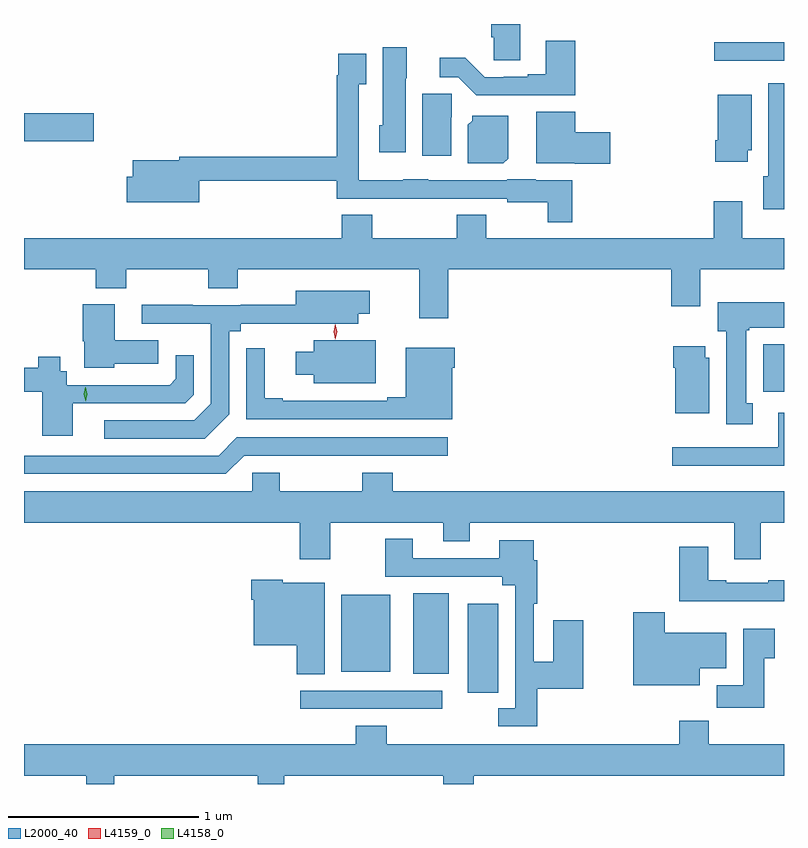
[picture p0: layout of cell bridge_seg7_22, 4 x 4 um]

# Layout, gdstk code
import gdstk
lib = gdstk.Library(unit=1e-6, precision=1e-09)
def R(c, l, rs):  # rectangles x0, y0, x1, y1
    for r in rs: c.add(gdstk.rectangle(r[:2], r[2:], *l))
def P(c, l, *ps):  # polygons
    for p in ps: c.add(gdstk.Polygon(p, *l))
L2000_40 = (2000, 40)
L4158_0 = (4158, 0)
L4159_0 = (4159, 0)

bridge_seg7_22 = lib.new_cell('bridge_seg7_22')
R(bridge_seg7_22, L2000_40, [(1106.871,1072.896,1107.616,1072.992), (1107.752,1072.98,1107.913,1073.449), (1107.464,1073.081,1107.652,1073.503), (1107.086,1073.09,1107.343,1073.497), (1109.307,1074.564,1109.416,1074.814), (1105.416,1075.883,1105.783,1076.03), (1109.049,1076.307,1109.416,1076.404)])
P(bridge_seg7_22, L2000_40, [(1108.027,1076.5),(1107.875,1076.5),(1107.875,1076.43),(1107.888,1076.43),(1107.888,1076.308),(1108.027,1076.308)],
  [(1108.316,1076.413),(1108.163,1076.413),(1108.163,1076.236),(1108.067,1076.236),(1108.067,1076.223),(1107.94,1076.223),(1107.94,1076.22),(1107.84,1076.22),(1107.738,1076.323),(1107.603,1076.323),(1107.603,1076.22),(1107.702,1076.22),(1107.796,1076.126),(1108.316,1076.126)],
  [(1107.424,1076.214),(1107.43,1076.214),(1107.43,1076.377),(1107.305,1076.377),(1107.305,1075.968),(1107.287,1075.968),(1107.287,1075.824),(1107.424,1075.824)],
  [(1108.301,1075.678),(1108.11,1075.678),(1108.11,1075.684),(1107.96,1075.684),(1107.96,1075.677),(1107.543,1075.677),(1107.543,1075.684),(1107.411,1075.684),(1107.411,1075.678),(1107.177,1075.678),(1107.177,1076.183),(1107.217,1076.183),(1107.217,1076.344),(1107.069,1076.344),(1107.069,1076.231),(1107.061,1076.231),(1107.061,1075.802),(1106.234,1075.802),(1106.234,1075.783),(1105.988,1075.783),(1105.988,1075.697),(1105.958,1075.697),(1105.958,1075.562),(1106.338,1075.562),(1106.338,1075.674),(1107.061,1075.674),(1107.061,1075.581),(1107.311,1075.581),(1107.311,1075.58),(1107.543,1075.58),(1107.543,1075.581),(1107.96,1075.581),(1107.96,1075.562),(1108.173,1075.562),(1108.173,1075.457),(1108.301,1075.457)],
  [(1109.416,1076.188),(1109.333,1076.188),(1109.333,1075.698),(1109.306,1075.698),(1109.306,1075.526),(1109.416,1075.526)],
  [(1107.664,1076.01),(1107.668,1076.01),(1107.668,1076.133),(1107.512,1076.133),(1107.512,1075.806),(1107.664,1075.806)],
  [(1109.224,1075.836),(1109.245,1075.836),(1109.245,1076.128),(1109.066,1076.128),(1109.066,1075.888),(1109.054,1075.888),(1109.054,1075.776),(1109.224,1075.776)],
  [(1108.501,1075.93),(1108.318,1075.93),(1108.318,1076.038),(1108.112,1076.038),(1108.112,1075.766),(1108.314,1075.766),(1108.314,1075.765),(1108.501,1075.765)],
  [(1107.964,1075.792),(1107.964,1076.017),(1107.774,1076.017),(1107.774,1075.992),(1107.752,1075.97),(1107.752,1075.766),(1107.938,1075.766)],
  [(1107.089,1075.496),(1107.089,1075.372),(1105.416,1075.372),(1105.416,1075.208),(1105.793,1075.208),(1105.793,1075.109),(1105.953,1075.109),(1105.953,1075.208),(1106.386,1075.208),(1106.386,1075.109),(1106.541,1075.109),(1106.541,1075.208),(1107.497,1075.208),(1107.497,1074.951),(1107.65,1074.951),(1107.65,1075.208),(1108.823,1075.208),(1108.823,1075.014),(1108.975,1075.014),(1108.975,1075.208),(1109.416,1075.208),(1109.416,1075.372),(1109.197,1075.372),(1109.197,1075.567),(1109.045,1075.567),(1109.045,1075.372),(1107.849,1075.372),(1107.849,1075.496),(1107.694,1075.496),(1107.694,1075.372),(1107.249,1075.372),(1107.249,1075.496)],
  [(1106.496,1074.446),(1106.496,1074.884),(1106.556,1074.884),(1106.556,1074.923),(1107.175,1074.923),(1107.175,1074.974),(1107.235,1074.974),(1107.235,1075.096),(1106.846,1075.096),(1106.846,1075.022),(1106.556,1075.022),(1106.556,1075.02),(1106.303,1075.02),(1106.303,1075.022),(1106.037,1075.022),(1106.037,1074.923),(1106.4,1074.923),(1106.4,1074.501),(1106.313,1074.414),(1105.839,1074.414),(1105.839,1074.318),(1106.368,1074.318)],
  [(1109.251,1074.505),(1109.218,1074.505),(1109.218,1074.889),(1109.232,1074.889),(1109.232,1074.902),(1109.416,1074.902),(1109.416,1075.036),(1109.066,1075.036),(1109.066,1074.882),(1109.111,1074.882),(1109.111,1074.393),(1109.251,1074.393)],
  [(1105.89,1074.713),(1106.122,1074.713),(1106.122,1074.835),(1105.894,1074.835),(1105.894,1075.024),(1105.724,1075.024),(1105.724,1074.831),(1105.733,1074.831),(1105.733,1074.692),(1105.89,1074.692)],
  [(1107.268,1074.835),(1106.942,1074.835),(1106.942,1074.775),(1106.846,1074.775),(1106.846,1074.653),(1106.942,1074.653),(1106.942,1074.608),(1107.268,1074.608)],
  [(1109.023,1074.744),(1109.002,1074.744),(1109.002,1074.805),(1108.832,1074.805),(1108.832,1074.692),(1108.844,1074.692),(1108.844,1074.452),(1109.023,1074.452)],
  [(1107.67,1074.692),(1107.683,1074.692),(1107.683,1074.796),(1107.425,1074.796),(1107.425,1074.536),(1107.329,1074.536),(1107.329,1074.516),(1106.779,1074.516),(1106.779,1074.529),(1106.683,1074.529),(1106.683,1074.793),(1106.586,1074.793),(1106.586,1074.42),(1107.67,1074.42)],
  [(1105.672,1074.504),(1106.265,1074.504),(1106.31,1074.549),(1106.31,1074.757),(1106.214,1074.757),(1106.214,1074.632),(1106.182,1074.6),(1105.642,1074.6),(1105.642,1074.673),(1105.608,1074.673),(1105.608,1074.748),(1105.492,1074.748),(1105.492,1074.692),(1105.416,1074.692),(1105.416,1074.564),(1105.511,1074.564),(1105.511,1074.333),(1105.672,1074.333)],
  [(1109.416,1074.454),(1109.387,1074.454),(1109.387,1074.273),(1108.827,1074.273),(1108.827,1074.176),(1109.416,1074.176)],
  [(1106.574,1074.228),(1106.851,1074.228),(1106.851,1074.227),(1107.107,1074.227),(1107.107,1074.228),(1107.646,1074.228),(1107.646,1074.324),(1106.537,1074.324),(1106.441,1074.228),(1105.416,1074.228),(1105.416,1074.132),(1106.478,1074.132)],
  [(1107.027,1073.876),(1107.623,1073.876),(1107.623,1073.777),(1107.763,1073.777),(1107.763,1073.876),(1109.153,1073.876),(1109.153,1073.682),(1109.293,1073.682),(1109.293,1073.876),(1109.416,1073.876),(1109.416,1074.04),(1107.356,1074.04),(1107.356,1074.139),(1107.196,1074.139),(1107.196,1074.04),(1106.763,1074.04),(1106.763,1074.138),(1106.616,1074.138),(1106.616,1074.04),(1105.416,1074.04),(1105.416,1073.876),(1106.867,1073.876),(1106.867,1073.682),(1107.027,1073.682)],
  [(1108.118,1073.002),(1108.36,1073.002),(1108.36,1073.362),(1108.202,1073.362),(1108.202,1073.144),(1108.098,1073.144),(1108.098,1073.45),(1108.118,1073.45),(1108.118,1073.678),(1108.099,1073.678),(1108.099,1073.782),(1107.917,1073.782),(1107.917,1073.688),(1107.463,1073.688),(1107.463,1073.791),(1107.316,1073.791),(1107.316,1073.592),(1107.932,1073.592),(1107.932,1073.546),(1108.002,1073.546),(1108.002,1072.899),(1107.913,1072.899),(1107.913,1072.803),(1108.118,1072.803)],
  [(1109.416,1073.572),(1109.333,1073.572),(1109.333,1073.559),(1109.113,1073.559),(1109.113,1073.572),(1109.017,1073.572),(1109.017,1073.749),(1108.865,1073.749),(1108.865,1073.462),(1109.416,1073.462)],
  [(1106.998,1073.56),(1106.778,1073.56),(1106.778,1073.575),(1106.612,1073.575),(1106.612,1073.471),(1106.624,1073.471),(1106.624,1073.231),(1106.852,1073.231),(1106.852,1073.077),(1106.998,1073.077)],
  [(1108.972,1073.108),(1109.113,1073.108),(1109.113,1073.296),(1108.788,1073.296),(1108.788,1073.404),(1108.622,1073.404),(1108.622,1073.021),(1108.972,1073.021)],
  [(1109.311,1073.161),(1109.368,1073.161),(1109.368,1073.317),(1109.201,1073.317),(1109.201,1073.02),(1109.062,1073.02),(1109.062,1072.902),(1109.311,1072.902)],
  [(1105.891,1072.544),(1106.645,1072.544),(1106.645,1072.5),(1106.785,1072.5),(1106.785,1072.544),(1107.622,1072.544),(1107.622,1072.5),(1107.782,1072.5),(1107.782,1072.544),(1109.416,1072.544),(1109.416,1072.708),(1109.021,1072.708),(1109.021,1072.832),(1108.865,1072.832),(1108.865,1072.708),(1107.326,1072.708),(1107.326,1072.807),(1107.161,1072.807),(1107.161,1072.708),(1105.416,1072.708),(1105.416,1072.544),(1105.744,1072.544),(1105.744,1072.5),(1105.891,1072.5)])
P(bridge_seg7_22, L4158_0, [(1105.741,1074.515),(1105.741,1074.515),(1105.73,1074.551),(1105.739,1074.587),(1105.739,1074.587),(1105.74,1074.587),(1105.75,1074.551),(1105.741,1074.515)])
P(bridge_seg7_22, L4159_0, [(1107.055,1074.841),(1107.055,1074.841),(1107.045,1074.88),(1107.055,1074.919),(1107.055,1074.919),(1107.055,1074.919),(1107.065,1074.88),(1107.055,1074.841)])

lib.write_gds('bridge_seg7_22.gds')
